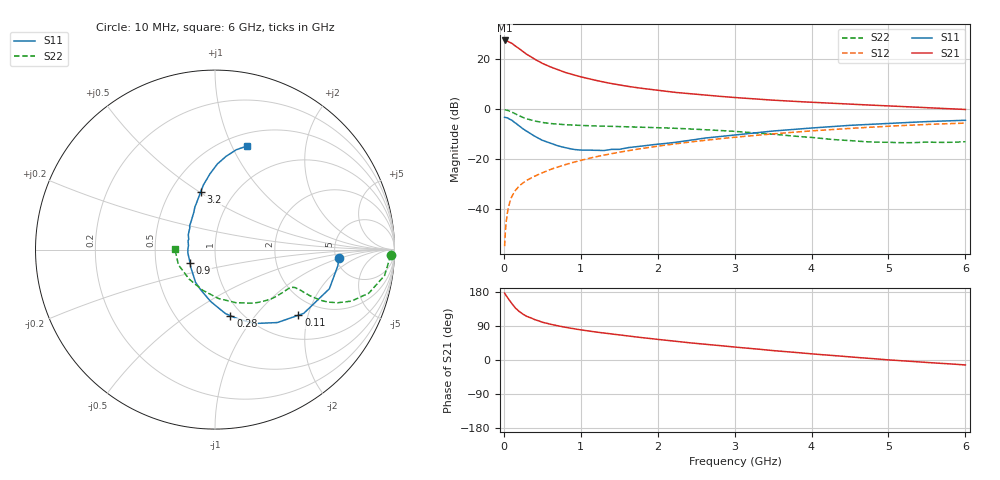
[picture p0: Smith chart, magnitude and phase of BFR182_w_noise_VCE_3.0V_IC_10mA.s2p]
! Infineon Technologies  Discrete & RF Semiconductors
! BFR182
! VCE =  3.0 V,  IC =  10 mA
! Common Emitter S-Parameters:  Nov 2015
# GHz  S  MA  R  50
!  f  S11  S21  S12  S22
! GHz  MAG  ANG  MAG  ANG  MAG  ANG  MAG  ANG
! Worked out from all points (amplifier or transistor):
!   210 points, 10 MHz to 6 GHz, reference 50 ohm
!   highest |S21| = 27.6 dB at 10 MHz (marker M1)
!   |S21| within 3 dB of that: start of sweep to 185.2 MHz
!   unconditionally stable (mu >= 1): 773.5 MHz to 2.623 GHz
!   at 185 MHz: K = 0.51, MSG = 27.9 dB, |S12| = -31.2 dB
!   at 1.52 GHz: K = 1.05, MAG = 12.0 dB, |S12| = -17.1 dB
!   at 6 GHz: K = 0.89, MSG = 2.7 dB, |S12| = -5.5 dB
!   lowest NFmin = 1.50 dB at 450 MHz
!   S11 on the Smith chart (normalised r, x): 10 MHz: 5.30, -0.95; 110 MHz: 1.55, -1.74; 280 MHz: 0.88, -0.76; 900 MHz: 0.75, -0.12; 3.2 GHz: 0.70, +0.50; 6 GHz: 0.63, +1.14
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0.01  0.6913 -3.9  24.08 176.6  0.0018 87.6  0.9817 -1.8
0.02  0.6903 -7.5  23.61 173.0  0.0035 91.0  0.9722 -3.5
0.05  0.6736 -18.9  23.24 163.7  0.0092 82.2  0.9555 -8.7
0.1  0.6087 -35.7  21.29 149.5  0.0174 74.7  0.8899 -15.9
0.11  0.5913 -38.2  20.69 147.3  0.0186 73.5  0.8738 -16.8
0.15  0.5346 -49.5  18.66 137.1  0.0236 70.0  0.8117 -20.7
0.2  0.4667 -61.9  16.44 128.0  0.029 68.1  0.7437 -23.5
0.24  0.4166 -69.7  14.75 122.2  0.0326 66.8  0.6977 -24.8
0.28  0.3778 -76.9  13.3 117.4  0.0361 66.4  0.6606 -25.5
0.3  0.3613 -80.7  12.63 115.0  0.0378 66.4  0.6435 -25.7
0.4  0.2896 -94.9  10.16 106.7  0.0455 66.2  0.5843 -25.9
0.5  0.2398 -108.8  8.369 99.7  0.0533 67.2  0.5448 -25.6
0.7  0.1862 -130.7  6.226 90.2  0.0696 68.2  0.504 -25.4
0.9  0.1578 -151.4  4.932 82.6  0.0862 68.2  0.4829 -25.8
1.02  0.1521 -164.4  4.414 79.0  0.0965 68.3  0.4741 -26.4
1.4  0.1574 162.3  3.284 68.6  0.1291 67.5  0.4558 -29.8
2.02  0.2009 132.5  2.381 54.0  0.1841 63.4  0.4279 -37.8
3.1  0.3167 105.8  1.684 32.3  0.2843 53.7  0.3516 -57.9
3.2  0.329 104.2  1.642 30.6  0.2937 52.6  0.3421 -60.4
4.1  0.4328 92.7  1.362 14.6  0.3786 42.8  0.2634 -89.6
5.1  0.5312 82.2  1.156 -1.0  0.467 30.4  0.2154 -136.5
6  0.6036 72.9  0.995 -13.1  0.5294 18.0  0.2243 178.6
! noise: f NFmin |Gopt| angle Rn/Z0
0.45  1.5  0.26  43  0.28
0.9  1.6  0.24  87  0.22
1.8  2.1  0.2  170  0.2
